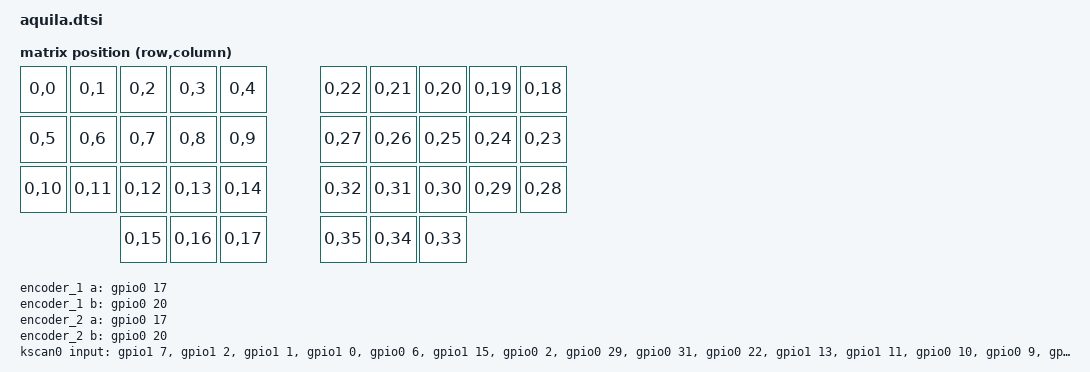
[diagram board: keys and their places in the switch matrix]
/*
 * Copyright (c) 2020 The ZMK Contributors
 *
 * SPDX-License-Identifier: MIT
 */

#include <dt-bindings/zmk/matrix_transform.h>

/ {

	chosen {
		zmk,kscan = &kscan0;
		zmk,matrix_transform = &default_transform;
	};

	// Left encoder
    encoder_1: encoder_1 {
        compatible = "alps,ec11";
        label = "Encoder 1";
        a-gpios = <&gpio0 17 (GPIO_ACTIVE_LOW | GPIO_PULL_UP)>;
        b-gpios = <&gpio0 20 (GPIO_ACTIVE_LOW | GPIO_PULL_UP)>;
        resolution = <4>;
        status = "okay";
    };

    // Right encoder
    encoder_2: encoder_2 {
        compatible = "alps,ec11";
        label = "Encoder 2";
        a-gpios = <&gpio0 17 (GPIO_ACTIVE_LOW | GPIO_PULL_UP)>;
        b-gpios = <&gpio0 20 (GPIO_ACTIVE_LOW | GPIO_PULL_UP)>;
        resolution = <4>;
        status = "okay";
    };

    sensors {
        compatible = "zmk,keymap-sensors";
        sensors = <&encoder_1 &encoder_2>;
    };

	default_transform: keymap_transform_0 {
		compatible = "zmk,matrix-transform";
		columns = <36>;
		rows = <1>;
		map = <
		RC(0,0)  RC(0,1)  RC(0,2)  RC(0,3)  RC(0,4)    RC(0,22) RC(0,21) RC(0,20) RC(0,19) RC(0,18)
		RC(0,5)  RC(0,6)  RC(0,7)  RC(0,8)  RC(0,9)    RC(0,27) RC(0,26) RC(0,25) RC(0,24) RC(0,23) 
		RC(0,10) RC(0,11) RC(0,12) RC(0,13) RC(0,14)   RC(0,32) RC(0,31) RC(0,30) RC(0,29) RC(0,28) 
		                  RC(0,15) RC(0,16) RC(0,17)   RC(0,35) RC(0,34) RC(0,33) 
		>;
	};

	kscan0: kscan {
		compatible = "zmk,kscan-gpio-direct";
		label = "KSCAN";
		input-gpios
		= <&gpio1 7  (GPIO_ACTIVE_LOW | GPIO_PULL_UP)>
		, <&gpio1 2  (GPIO_ACTIVE_LOW | GPIO_PULL_UP)>
		, <&gpio1 1  (GPIO_ACTIVE_LOW | GPIO_PULL_UP)>
		, <&gpio1 0  (GPIO_ACTIVE_LOW | GPIO_PULL_UP)>
		, <&gpio0 6  (GPIO_ACTIVE_LOW | GPIO_PULL_UP)>

		, <&gpio1 15 (GPIO_ACTIVE_LOW | GPIO_PULL_UP)>
		, <&gpio0 2  (GPIO_ACTIVE_LOW | GPIO_PULL_UP)>
		, <&gpio0 29 (GPIO_ACTIVE_LOW | GPIO_PULL_UP)>
		, <&gpio0 31 (GPIO_ACTIVE_LOW | GPIO_PULL_UP)>
		, <&gpio0 22 (GPIO_ACTIVE_LOW | GPIO_PULL_UP)>
		
		, <&gpio1 13 (GPIO_ACTIVE_LOW | GPIO_PULL_UP)>
		, <&gpio1 11 (GPIO_ACTIVE_LOW | GPIO_PULL_UP)>
		, <&gpio0 10 (GPIO_ACTIVE_LOW | GPIO_PULL_UP)>
		, <&gpio0 9  (GPIO_ACTIVE_LOW | GPIO_PULL_UP)>
		, <&gpio1 6  (GPIO_ACTIVE_LOW | GPIO_PULL_UP)>

		, <&gpio1 4  (GPIO_ACTIVE_LOW | GPIO_PULL_UP)>
		, <&gpio0 24 (GPIO_ACTIVE_LOW | GPIO_PULL_UP)>
		, <&gpio0 8  (GPIO_ACTIVE_LOW | GPIO_PULL_UP)>
		;
	};

};
